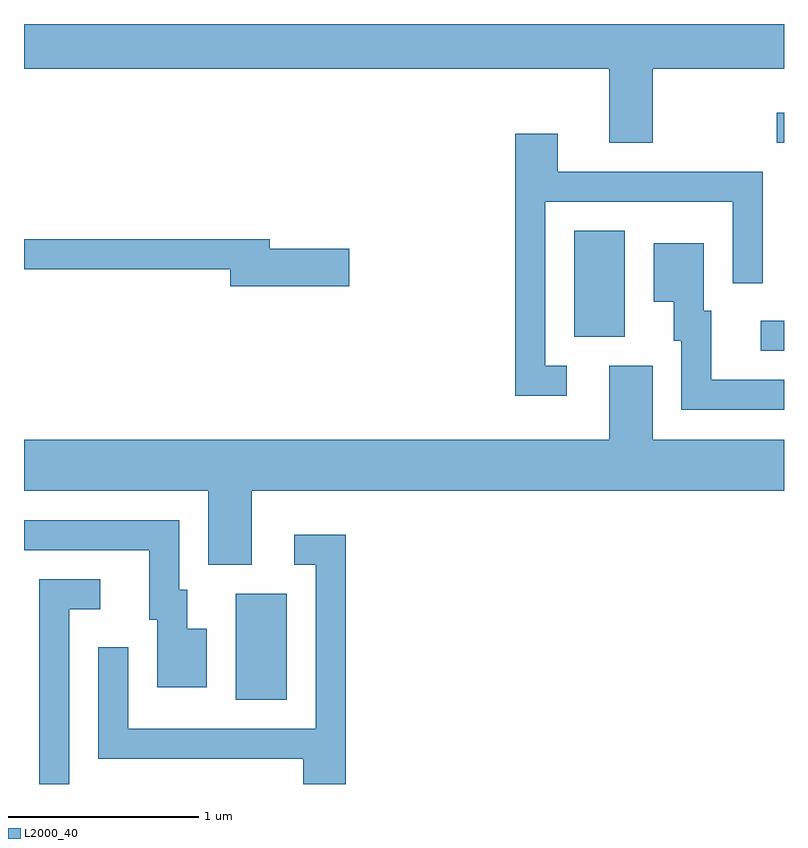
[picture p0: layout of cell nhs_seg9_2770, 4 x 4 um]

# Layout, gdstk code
import gdstk
lib = gdstk.Library(unit=1e-6, precision=1e-09)
def R(c, l, rs):  # rectangles x0, y0, x1, y1
    for r in rs: c.add(gdstk.rectangle(r[:2], r[2:], *l))
def P(c, l, *ps):  # polygons
    for p in ps: c.add(gdstk.Polygon(p, *l))
L2000_40 = (2000, 40)

nhs_seg9_2770 = lib.new_cell('nhs_seg9_2770')
R(nhs_seg9_2770, L2000_40, [(266.726,2052.876,266.994,2053.434), (269.488,2054.711,269.611,2054.869), (268.506,2054.786,268.774,2055.344), (269.573,2055.806,269.611,2055.964)])
P(nhs_seg9_2770, L2000_40, [(268.919,2056.196),(269.611,2056.196),(269.611,2056.432),(265.611,2056.432),(265.611,2056.196),(268.691,2056.196),(268.691,2055.806),(268.919,2055.806)],
  [(268.468,2054.634),(268.354,2054.634),(268.354,2055.496),(269.341,2055.496),(269.341,2055.068),(269.499,2055.068),(269.499,2055.654),(268.419,2055.654),(268.419,2055.854),(268.196,2055.854),(268.196,2054.476),(268.468,2054.476)],
  [(267.324,2055.249),(266.904,2055.249),(266.904,2055.299),(265.611,2055.299),(265.611,2055.141),(266.696,2055.141),(266.696,2055.051),(267.324,2055.051)],
  [(269.611,2054.559),(269.229,2054.559),(269.229,2054.924),(269.189,2054.924),(269.189,2055.279),(268.926,2055.279),(268.926,2054.971),(269.031,2054.971),(269.031,2054.766),(269.071,2054.766),(269.071,2054.401),(269.611,2054.401)],
  [(266.809,2053.976),(269.611,2053.976),(269.611,2054.244),(268.919,2054.244),(268.919,2054.634),(268.691,2054.634),(268.691,2054.244),(265.611,2054.244),(265.611,2053.976),(266.581,2053.976),(266.581,2053.586),(266.809,2053.586)],
  [(266.574,2053.249),(266.469,2053.249),(266.469,2053.454),(266.429,2053.454),(266.429,2053.819),(265.611,2053.819),(265.611,2053.661),(266.271,2053.661),(266.271,2053.296),(266.311,2053.296),(266.311,2052.941),(266.574,2052.941)],
  [(267.304,2053.744),(267.033,2053.744),(267.033,2053.586),(267.146,2053.586),(267.146,2052.724),(266.159,2052.724),(266.159,2053.153),(266.001,2053.153),(266.001,2052.566),(267.081,2052.566),(267.081,2052.432),(267.304,2052.432)],
  [(265.849,2053.351),(266.013,2053.351),(266.013,2053.509),(265.691,2053.509),(265.691,2052.432),(265.849,2052.432)])

lib.write_gds('nhs_seg9_2770.gds')
